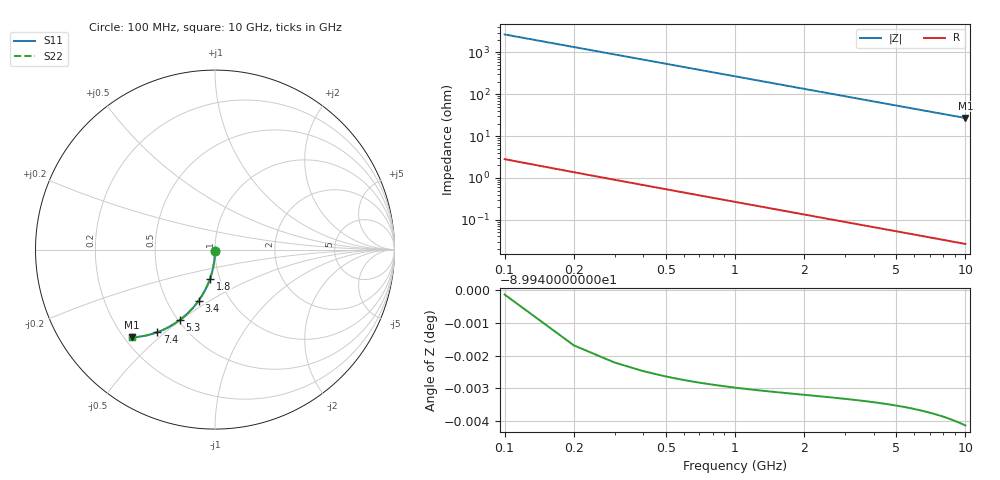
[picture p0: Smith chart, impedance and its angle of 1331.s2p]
# Hz S RI R 50.00
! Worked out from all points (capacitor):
!   100 points, 100 MHz to 10 GHz, reference 50 ohm
!   read as one part in shunt: C = 591 fF near 100 MHz
!   lowest |Z| = 27.1 ohm at 10 GHz (marker M1)
!   S11 on the Smith chart (normalised r, x): 100 MHz: 1.00, -0.02; 1.8 GHz: 0.90, -0.30; 3.4 GHz: 0.72, -0.45; 5.3 GHz: 0.51, -0.49; 7.4 GHz: 0.35, -0.47; 10 GHz: 0.23, -0.41
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1e8  -7.67e-05 -0.00921  0.9999 -0.00937  0.9999 -0.00937  -7.67e-05 -0.00921
2e8  -0.000344 -0.0184  0.9996 -0.0187  0.9996 -0.0187  -0.000344 -0.0184
3e8  -0.000784 -0.0276  0.9992 -0.0281  0.9992 -0.0281  -0.000784 -0.0276
4e8  -0.0014 -0.0368  0.9986 -0.0374  0.9986 -0.0374  -0.0014 -0.0368
5e8  -0.00218 -0.0459  0.9978 -0.0468  0.9978 -0.0468  -0.00218 -0.0459
6e8  -0.00313 -0.0551  0.9968 -0.056  0.9968 -0.056  -0.00313 -0.0551
8e8  -0.00554 -0.0732  0.9944 -0.0745  0.9944 -0.0745  -0.00554 -0.0732
9e8  -0.007 -0.0823  0.993 -0.0837  0.993 -0.0837  -0.007 -0.0823
1.1e9  -0.0104 -0.1002  0.9895 -0.102  0.9895 -0.102  -0.0104 -0.1002
1.4e9  -0.0167 -0.1267  0.9832 -0.129  0.9832 -0.129  -0.0167 -0.1267
1.8e9  -0.0273 -0.1611  0.9726 -0.1641  0.9726 -0.1641  -0.0273 -0.1611
2.1e9  -0.0368 -0.1861  0.9632 -0.1896  0.9632 -0.1896  -0.0368 -0.1861
2.5e9  -0.0513 -0.2181  0.9486 -0.2223  0.9486 -0.2223  -0.0513 -0.2181
2.9e9  -0.0678 -0.2486  0.9321 -0.2534  0.9321 -0.2534  -0.0678 -0.2486
3.4e9  -0.0909 -0.2841  0.9091 -0.2898  0.9091 -0.2898  -0.0909 -0.2841
4.2e9  -0.1322 -0.3348  0.8677 -0.3418  0.8677 -0.3418  -0.1322 -0.3348
5.1e9  -0.1834 -0.3822  0.8165 -0.3908  0.8165 -0.3908  -0.1834 -0.3822
5.3e9  -0.1952 -0.3914  0.8047 -0.4003  0.8047 -0.4003  -0.1952 -0.3914
6.7e9  -0.2792 -0.4424  0.7207 -0.4538  0.7207 -0.4538  -0.2792 -0.4424
7.4e9  -0.3208 -0.46  0.6791 -0.4726  0.6791 -0.4726  -0.3208 -0.46
8.4e9  -0.3783 -0.4773  0.6216 -0.4917  0.6216 -0.4917  -0.3783 -0.4773
1e10  -0.4629 -0.4895  0.5369 -0.5067  0.5369 -0.5067  -0.4629 -0.4895
